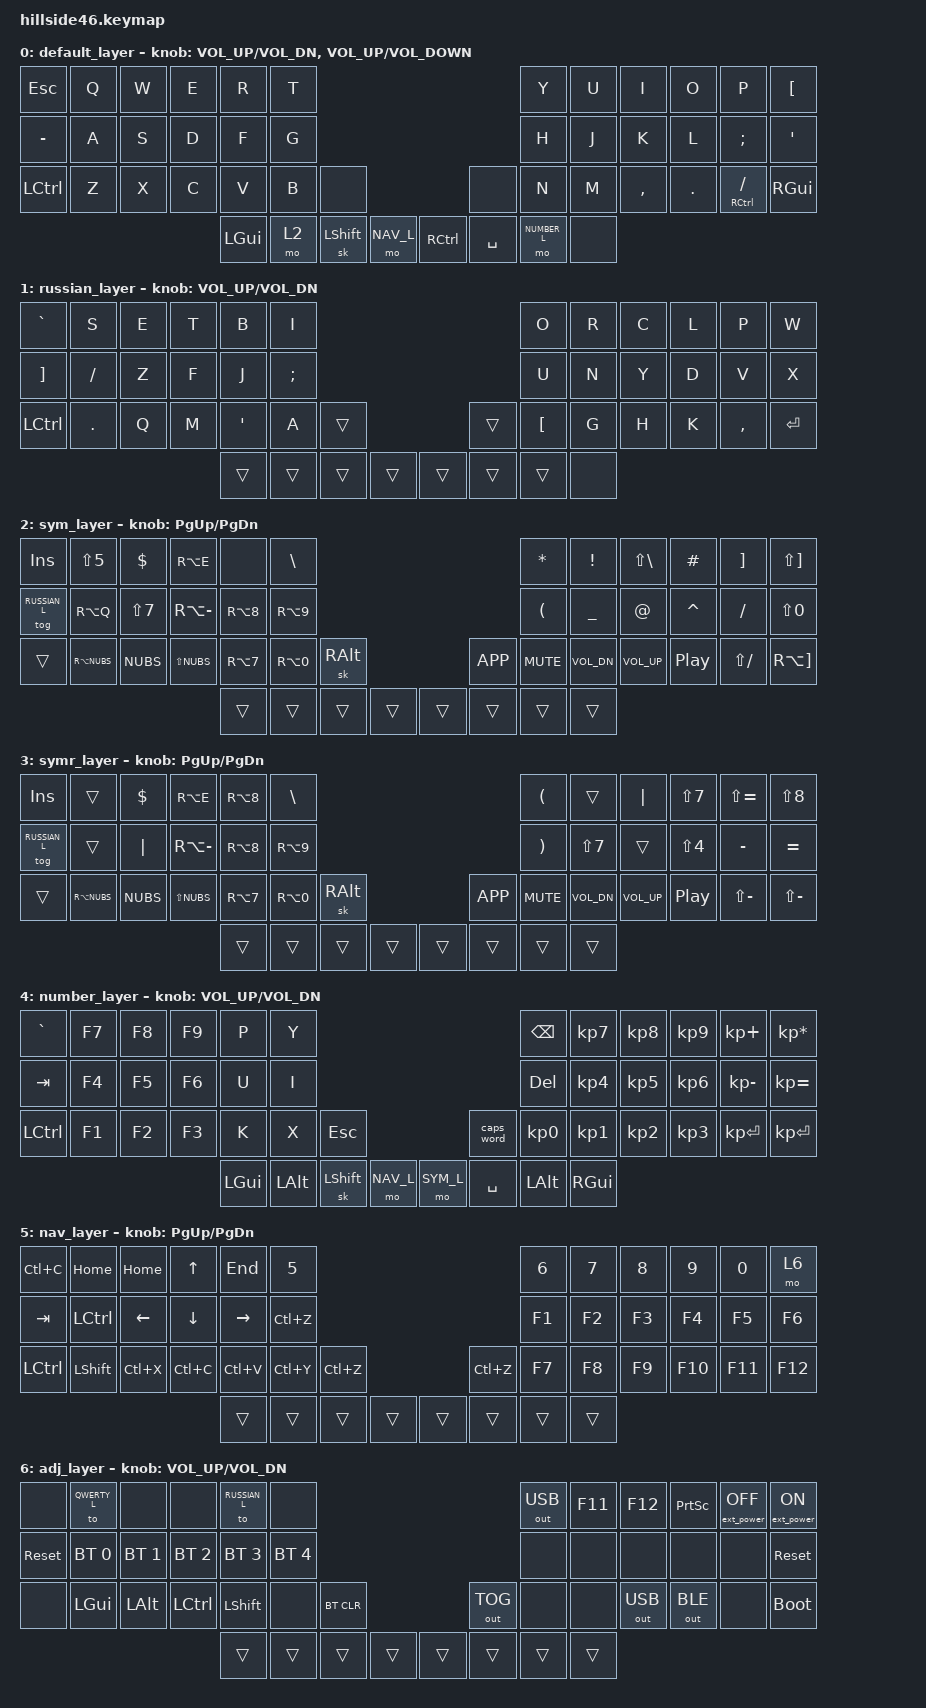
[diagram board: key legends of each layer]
/*
 * Copyright (c) 2021-2022 The ZMK Contributors
 *
 * SPDX-License-Identifier: MIT
 */

#include <behaviors.dtsi>
#include <dt-bindings/zmk/bt.h>
#include <dt-bindings/zmk/ext_power.h>
#include <dt-bindings/zmk/keys.h>
#include <dt-bindings/zmk/outputs.h>

#define QWERTY_L   0
#define RUSSIAN_L  1
#define SYM_L      2
#define SYMR_L     3
#define NUMBER_L   4
#define NAV_L      5
#define ADJ_L      6
#define Undo   LC(Y)
#define Cut    LC(X)
#define Copy   LC(C)
#define Paste  LC(V)
#define Redo   LC(Z)

/ {
    conditional_layers {
        compatible = "zmk,conditional-layers";

        symr_layer {
            if-layers = <1 2>;
            then-layer = <3>;
        };
    };

    behaviors {
        gr_esc: grave_escape {
            compatible = "zmk,behavior-mod-morph";
            label = "GR_ESC";
            #binding-cells = <0>;
            bindings = <&kp GRAVE>, <&kp ESC>;

            mods = <(MOD_LGUI|MOD_LALT|MOD_RGUI|MOD_RALT)>;
        };

        bspc_del: backspace_delete {
            compatible = "zmk,behavior-mod-morph";
            label = "BS_DEL";
            #binding-cells = <0>;
            bindings = <&kp BACKSPACE>, <&kp DELETE>;

            mods = <(MOD_LSFT|MOD_RSFT)>;
        };

        Bspc_Layer: Bspc_Layer {
            compatible = "zmk,behavior-hold-tap";
            label = "BSPC_LAYER";
            bindings = <&mo>, <&bspc_del>;

            #binding-cells = <2>;
            tapping-term-ms = <200>;
        };
    };

    combos {
        compatible = "zmk,combos";

        Combo_DEL {
            bindings = <&kp DEL>;
            key-positions = <16 15>;
        };

        Combo {
            bindings = <&kp BSPC>;
            key-positions = <20 19>;
        };

        Combo_ENTER {
            bindings = <&kp RET>;
            key-positions = <21 22>;
        };

        Combo_O {
            bindings = <&kp U>;
            key-positions = <25 28>;
        };

        Combo_K {
            bindings = <&kp K>;
            key-positions = <13 16>;
        };

        Combo_P {
            bindings = <&kp P>;
            key-positions = <14 15>;
        };
    };

    keymap {
        compatible = "zmk,keymap";

        default_layer {
            /* QWERTY
 * -------------------------------------------------------------------------------------------------------------------------------------
 * |  ESC  |   Q   |   W   |   E   |   R   |   T   |-----------------------------------|   Z   |   U   |   I   |   O   |   P   |   Ü   |
 * |   ß   |   A   |   S   |   D   |   F   |   G   |-----------------------------------|   H   |   J   |   K   |   L   |   Ö   |   Ä   |
 * | CTRL  |   Y   |   X   |   C   |   V   |   B   | none  |-------------------|  none |   N   |   M   |   ,   |   .   |   -   | ENTER |
 *                                 |  GUI  | BSPC  |SK SHFT|  Nav  |---| Sym - | SPACE |  Num  |  none |
 *  
 */

            bindings = <
&kp ESCAPE        &kp Q  &kp W  &kp E  &kp R     &kp T                                                         &kp Y         &kp U  &kp I      &kp O    &kp P            &kp LBKT
&kp MINUS         &kp A  &kp S  &kp D  &kp F     &kp G                                                         &kp H         &kp J  &kp K      &kp L    &kp SEMI         &kp SQT
&kp LEFT_CONTROL  &kp Z  &kp X  &kp C  &kp V     &kp B  &none                                       &none      &kp N         &kp M  &kp COMMA  &kp DOT  &mt RCTRL SLASH  &kp RGUI
                                       &kp LGUI  &mo 2  &sk LSHIFT  &mo NAV_L    &kp RIGHT_CONTROL  &kp SPACE  &mo NUMBER_L  &none
            >;

            sensor-bindings =
                <&inc_dec_kp C_VOL_UP C_VOL_DN>,
                <&inc_dec_kp C_VOLUME_UP C_VOLUME_DOWN>;
        };

        russian_layer {
            /* RUS
 * -------------------------------------------------------------------------------------------------------------------------------------
 * |   Ё   |   Ы   |   У   |   E   |   И   |   Ш   |-----------------------------------|   Щ   |   К   |   С   |   Д   |   З   |   Ц   |
 * |   Ъ   |   .   |   Я   |   А   |   О   |   Ж   |-----------------------------------|   Г   |   Т   |   Н   |   В   |   М   |   Ч   |
 * | CTRL  |   Ю   |   Й   |   Ь   |   Э   |   Ф   | none  |-------------------|  none |   Х   |   П   |   Р   |   Л   |   Б   | ENTER |
 *                                 |  GUI  | BSPC  |SK SHFT|  Nav  |---|  Sym  | SPACE |  Num  |  none |
 */

            bindings = <
&kp GRAVE  &kp S      &kp E  &kp T  &kp B    &kp I                                       &kp O     &kp R  &kp C  &kp L  &kp P      &kp W
&kp RBKT   &kp SLASH  &kp Z  &kp F  &kp J    &kp SEMI                                    &kp U     &kp N  &kp Y  &kp D  &kp V      &kp X
&kp LCTRL  &kp DOT    &kp Q  &kp M  &kp SQT  &kp A     &trans                    &trans  &kp LBKT  &kp G  &kp H  &kp K  &kp COMMA  &kp ENTER
                                    &trans   &trans    &trans  &trans    &trans  &trans  &trans    &none
            >;

            sensor-bindings = <&inc_dec_kp C_VOL_UP C_VOL_DN>;
        };

        sym_layer {
            /* SYM
 * -------------------------------------------------------------------------------------------------------------------------------------
 * | INS   |   %   |   $   |   €   |   ₽   |   #   |-----------------------------------|   (   |   !   |   '   |   §   |   +   |   *   |
 * | RUS_L |   @   |   /   |   \   |   [   |   ]   |-----------------------------------|   )   |   ?   |   "   |   &   |   -   |   =   |
 * | Ctrl  |   |   |   <   |   >   |   {   |   }   |SkAltGr|-------------------| MENU  | Mute  | Vol-  | Vol+  | Play  |   _   |   ~   |
 *                                 |       |       |       |  ADJ_L |---|      |       |       |       |
 */

            bindings = <
&kp INS         &kp LS(N5)    &kp DOLLAR  &kp RA(E)      &none       &kp BSLH                                           &kp ASTRK   &kp EXCL      &kp LS(BSLH)  &kp HASH   &kp RBKT       &kp LS(RBKT)
&tog RUSSIAN_L  &kp RA(Q)     &kp LS(N7)  &kp RA(MINUS)  &kp RA(N8)  &kp RA(N9)                                         &kp LPAR    &kp UNDER     &kp AT        &kp CARET  &kp SLASH      &kp LS(N0)
&trans          &kp RA(NUBS)  &kp NUBS    &kp LS(NUBS)   &kp RA(N7)  &kp RA(N0)  &sk RALT                    &kp K_APP  &kp C_MUTE  &kp C_VOL_DN  &kp C_VOL_UP  &kp C_PP   &kp LS(SLASH)  &kp RA(RBKT)
                                                         &trans      &trans      &trans    &trans    &trans  &trans     &trans      &trans
            >;

            sensor-bindings = <&inc_dec_kp PG_UP PG_DN>;
        };

        symr_layer {
            /* SYMBOLS RUSSIAN
 * -------------------------------------------------------------------------------------------------------------------------------------
 * | INS   |   %   |   $   |   €   |   ₽   |   #   |-----------------------------------|   (   |   !   |   '   |   :   |   +   |   *   |   
 * | RUS_L |   @   |   /   |   \   |   [   |   ]   |-----------------------------------|   )   |   ?   |   "   |   ;   |   -   |   =   | 
 * | Ctrl  |   |   |   <   |   >   |   {   |   }   |SkAltGr|-------------------| MENU  | Mute  | Vol-  | Vol+  | Play  |   _   |       |
 *                                 |       |       |       |  ADJ_L |---|      |       |       |       |
 */

            bindings = <
&kp INS         &trans        &kp DOLLAR  &kp RA(E)      &kp RA(N8)  &kp BSLH                                           &kp LPAR    &trans        &kp PIPE      &kp LS(N7)  &kp LS(EQUAL)  &kp LS(N8)
&tog RUSSIAN_L  &trans        &kp PIPE    &kp RA(MINUS)  &kp RA(N8)  &kp RA(N9)                                         &kp RPAR    &kp LS(N7)    &trans        &kp LS(N4)  &kp MINUS      &kp EQUAL
&trans          &kp RA(NUBS)  &kp NUBS    &kp LS(NUBS)   &kp RA(N7)  &kp RA(N0)  &sk RALT                    &kp K_APP  &kp C_MUTE  &kp C_VOL_DN  &kp C_VOL_UP  &kp C_PP    &kp LS(MINUS)  &kp LS(MINUS)
                                                         &trans      &trans      &trans    &trans    &trans  &trans     &trans      &trans
            >;

            sensor-bindings = <&inc_dec_kp PG_UP PG_DN>;
        };

        number_layer {
            /* NUMBER
 * -------------------------------------------------------------------------------------------------------------------------------------
 * | `     |   F7  |   F8  |   F9  |   -   |   -   |-----------------------------------|  BSPC |   7   |   8   |   9   |   +   |   *   |
 * | TAB   |   F4  |   F5  |   F6  |   -   |   -   |-----------------------------------|  DEL  |   4   |   5   |   6   |   -   |   =   |
 * | CTRL  |   F1  |   F2  |   F3  |   -   |   -   |  ESC  |-------------------| CAPS W|   0   |   1   |   2   |   3   | ENTER | ENTER |
 *                                 |  GUI  |  ALT  |SK SHFT|  Nav  |---|  Sym  | SPACE |       |       |
 */

            bindings = <
&kp GRAVE  &kp F7  &kp F8  &kp F9  &kp P     &kp Y                                                     &kp BSPC   &kp KP_N7  &kp KP_N8  &kp KP_N9  &kp KP_PLUS   &kp KP_MULTIPLY
&kp TAB    &kp F4  &kp F5  &kp F6  &kp U     &kp I                                                     &kp DEL    &kp KP_N4  &kp KP_N5  &kp KP_N6  &kp KP_MINUS  &kp KP_EQUAL
&kp LCTRL  &kp F1  &kp F2  &kp F3  &kp K     &kp X     &kp ESC                             &caps_word  &kp KP_N0  &kp KP_N1  &kp KP_N2  &kp KP_N3  &kp KP_ENTER  &kp KP_ENTER
                                   &kp LGUI  &kp LALT  &sk LSHIFT  &mo NAV_L    &mo SYM_L  &kp SPACE   &kp LALT   &kp RGUI
            >;

            sensor-bindings = <&inc_dec_kp C_VOL_UP C_VOL_DN>;
        };

        nav_layer {
            /* NAV   
 * -------------------------------------------------------------------------------------------------------------------------------------
 * | Copy  |       | HOME  |  Up   |  END  |       |-----------------------------------|   6   |   7   |   8   |   9   |   0   |  Adj  |
 * | TAB   | CTRL  | Left  | Down  | Right | ReDo  |-----------------------------------| PG UP |  Left |  Up   |  Down | Right | PG DN |
 * | Ctrl  | SHIFT |  Cut  | Copy  | Paste | UnDo  |  ReDo |-------------------| ReDo  |  F6   |  F7   |  F8   |  F9   |  F10  | Ctrl  |
 *                                 |       |       |       |       |---| ADJ_L |       |       |       |
 */

            bindings = <
&kp Copy   &kp HOME    &kp HOME  &kp UP    &kp END    &kp N5                                          &kp N6  &kp N7  &kp N8  &kp N9   &kp N0   &mo 6
&kp TAB    &kp LCTRL   &kp LEFT  &kp DOWN  &kp RIGHT  &kp Redo                                        &kp F1  &kp F2  &kp F3  &kp F4   &kp F5   &kp F6
&kp LCTRL  &kp LSHIFT  &kp Cut   &kp Copy  &kp Paste  &kp Undo  &kp Redo                    &kp Redo  &kp F7  &kp F8  &kp F9  &kp F10  &kp F11  &kp F12
                                           &trans     &trans    &trans    &trans    &trans  &trans    &trans  &trans
            >;

            sensor-bindings = <&inc_dec_kp PG_UP PG_DN>;
        };

        adj_layer {
            /* ADJUST
 * -------------------------------------------------------------------------------------------------------------------------------------
 * |       | QWERTY|       |       |RUSSIAN|       |-----------------------------------|OUT_USB|  F11  |  F12  |Prt Scr|EP_OFF | EP_ON |
 * | RESET | BT 0  | BT 1  | BT 2  | BT 3  | BT 4  |-----------------------------------|       |       |       |       |       | RESET |
 * |       | LGUI  | LALT  | LCTRL | LSHIFT|       |BT CLR |-------------------|OUT_TOG|       |       |OUT_USB|OUT_BLE|       | BOOTL |
 *                                 |       |       |       |       |---|       |       |       |       |
 */

            bindings = <
&none       &to QWERTY_L  &none         &none         &to RUSSIAN_L  &none                                                     &out OUT_USB  &kp F11  &kp F12       &kp PRINTSCREEN  &ext_power EP_OFF  &ext_power EP_ON
&sys_reset  &bt BT_SEL 0  &bt BT_SEL 1  &bt BT_SEL 2  &bt BT_SEL 3   &bt BT_SEL 4                                              &none         &none    &none         &none            &none              &sys_reset
&none       &kp LGUI      &kp LALT      &kp LCTRL     &kp LSHIFT     &none         &bt BT_CLR                    &out OUT_TOG  &none         &none    &out OUT_USB  &out OUT_BLE     &none              &bootloader
                                                      &trans         &trans        &trans      &trans    &trans  &trans        &trans        &trans
            >;

            sensor-bindings = <&inc_dec_kp C_VOL_UP C_VOL_DN>;
        };
    };
};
